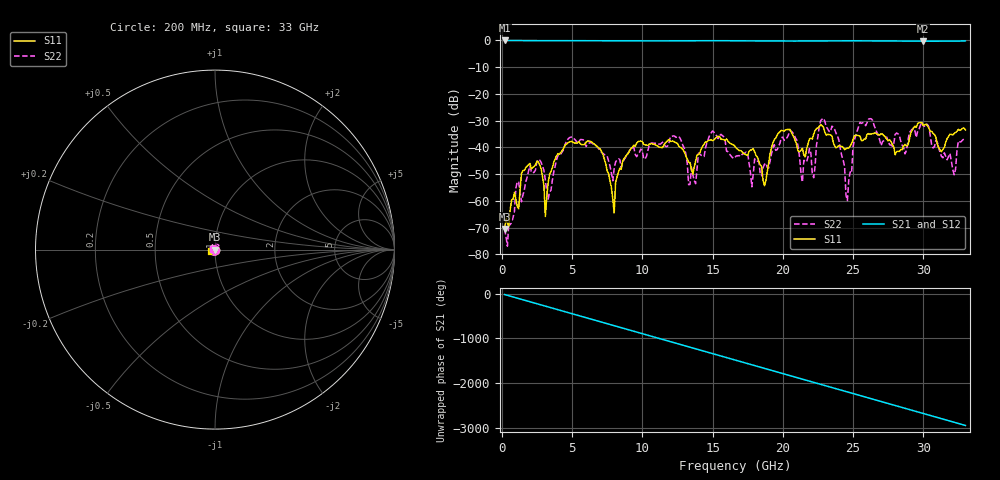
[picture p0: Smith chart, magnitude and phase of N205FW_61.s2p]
# GHZ S RI R 50
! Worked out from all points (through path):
!   329 points, 200 MHz to 33 GHz, reference 50 ohm
!   highest |S21| = -0.02 dB at 200 MHz (marker M1); lowest = -0.3 dB at 30 GHz (marker M2)
!   group delay of S21, straight-line fit = 248 ps
!   lowest |S11| = -70.5 dB at 200 MHz (marker M3), VSWR 1.00, Z = 50 + j0.00902 ohm
!   |S11| at or under -10 dB: start of sweep to end of sweep
!   |S22| runs from -76.9 to -29.1 dB; largest |S21 - S12| = 0.0022
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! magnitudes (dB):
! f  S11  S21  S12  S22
! 200 MHz  -70.5  0.0  0.0  -70.5
! 1.5 GHz  -48.7  -0.1  -0.1  -57.9
! 2.6 GHz  -45.4  -0.1  -0.1  -44.5
! 3.1 GHz  -65.9  -0.1  -0.1  -52.2
! 3.9 GHz  -43.1  -0.1  -0.1  -44.6
! 5.7 GHz  -39.0  -0.1  -0.1  -37.1
! 8 GHz  -64.5  -0.1  -0.1  -47.9
! 8.7 GHz  -44.2  -0.1  -0.1  -44.5
! 11.2 GHz  -39.9  -0.2  -0.2  -38.8
! 13.3 GHz  -45.5  -0.1  -0.1  -54.0
! 15 GHz  -37.5  -0.1  -0.1  -33.9
! 16.6 GHz  -39.6  -0.1  -0.1  -43.7
! 18.7 GHz  -54.3  -0.2  -0.2  -46.3
! 19.7 GHz  -34.6  -0.2  -0.2  -39.7
! 22.1 GHz  -36.9  -0.2  -0.2  -49.7
! 22.9 GHz  -32.5  -0.2  -0.2  -29.1
! 24.6 GHz  -40.3  -0.2  -0.2  -59.9
! 25.5 GHz  -35.8  -0.2  -0.2  -30.6
! 27.6 GHz  -37.2  -0.3  -0.3  -39.0
! 30 GHz  -31.7  -0.3  -0.3  -31.9
! 32.2 GHz  -34.8  -0.3  -0.3  -50.2
! 33 GHz  -33.5  -0.2  -0.2  -37.1
